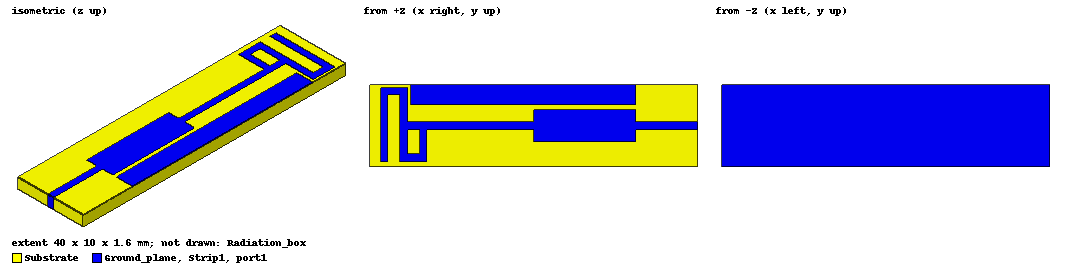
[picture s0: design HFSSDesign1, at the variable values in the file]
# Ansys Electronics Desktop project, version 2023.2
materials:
  vacuum: permittivity=1
  FR4_epoxy: permittivity=4.4 dielectric_loss_tangent=0.02
  air: permittivity=1.0006 permeability=1.0000004

design HFSSDesign1 (HFSS, HFSS Terminal Network, model units mm)
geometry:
  Ground_plane = rectangle(corner=(0mm, 0mm, 0mm), x_size=40mm, y_size=10mm)
  Substrate [FR4_epoxy] = box(corner=(0mm, 0mm, 0mm), size=(40mm, 10mm, 1.6mm))
  Strip1 = rectangle(corner=(32.5mm, 10mm, 1.6mm), x_size=-27.5mm, y_size=-2.5mm)
  Strip2 = rectangle(corner=(32.5mm, 7mm, 1.6mm), x_size=-12.5mm, y_size=-4mm)
  Strip3 = rectangle(corner=(40mm, 5.45mm, 1.6mm), x_size=-35.4mm, y_size=-0.9mm)
  Strip4 = rectangle(corner=(6.1mm, 4.55mm, 1.6mm), x_size=0.9mm, y_size=-3.9mm)
  Strip5 = rectangle(corner=(7mm, 0.65mm, 1.6mm), x_size=-3.3mm, y_size=0.9mm)
  Strip6 = rectangle(corner=(3.7mm, 0.65mm, 1.6mm), x_size=0.9mm, y_size=9mm)
  Strip7 = rectangle(corner=(4.6mm, 9.65mm, 1.6mm), x_size=-3.3mm, y_size=-0.9mm)
  Strip8 = rectangle(corner=(1.3mm, 9.65mm, 1.6mm), x_size=0.9mm, y_size=-9mm)
  port1 = rectangle(corner=(40mm, 4.55mm, 1.6mm), y_size=0.9mm, z_size=-1.6mm)
  Strip1.unite(Strip2..Strip8)
  Radiation_box [air] = box(corner=(-4mm, -4mm, -2mm), size=(48mm, 18mm, 5mm))
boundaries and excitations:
  PerfE1: Perfect E Objects=[Ground_plane, Strip1]
  Rad1: Radiation Objects=Radiation_box
  1: Lumped Port Objects=port1 LumpedPortType=Modal Modes{Mode1{IntLine{(40, 5, 0) -> (40, 5, 1.6)} CharImp=Zpi RenormImp=50ohm}} Impedance=50ohm
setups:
  Setup1: HfssDriven Frequency=2.4GHz MaxDeltaS=0.02 MaximumPasses=20 MinimumPasses=1 MinimumConvergedPasses=1 PercentRefinement=30 BasisOrder=1 PortAccuracy=2 DrivenSolverType="Direct Solver"
    sweep Sweep: 2GHz to 3GHz step 0.006GHz; Type=Fast SaveFields
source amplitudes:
  1:1: 1V 0deg
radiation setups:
  Infinite Sphere1: Infinite Sphere Theta=0deg..360deg step 10deg Phi=0deg..90deg step 90deg
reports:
  S Parameter Plot 1: dB(S(1,1)) vs Freq on Setup1 : Sweep
  Gain Plot 1: dB(GainTotal) vs Theta on Setup1 : LastAdaptive, Infinite Sphere1 [Phi=all Freq=2.4GHz]
